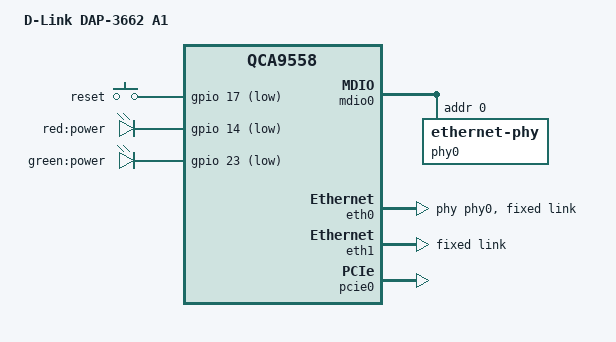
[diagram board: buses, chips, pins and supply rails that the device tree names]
// SPDX-License-Identifier: GPL-2.0-or-later OR MIT

#include "qca955x_dlink_dap-2xxx.dtsi"

/ {
	compatible = "dlink,dap-3662-a1", "qca,qca9558";
	model = "D-Link DAP-3662 A1";

	aliases {
		led-boot = &led_power_green;
		led-failsafe = &led_power_red;
		led-running = &led_power_green;
		led-upgrade = &led_power_red;
	};

	keys {
		compatible = "gpio-keys";

		reset {
			label = "reset";
			linux,code = <KEY_RESTART>;
			gpios = <&gpio 17 GPIO_ACTIVE_LOW>;
		};
	};

	leds {
		compatible = "gpio-leds";

		led_power_red: power_red {
			label = "red:power";
			gpios = <&gpio 14 GPIO_ACTIVE_LOW>;
		};

		led_power_green: power_green {
			label = "green:power";
			gpios = <&gpio 23 GPIO_ACTIVE_LOW>;
			default-state = "on";
		};
	};
};

&partitions {
	partition@70000 {
		label = "firmware";
		reg = <0x70000 0xef0000>;
		compatible = "wrg";
	};

	partition@f60000 {
		label = "dlink";
		reg = <0xf60000 0x90000>;
		read-only;
	};

	art: partition@ff0000 {
		label = "art";
		reg = <0xff0000 0x10000>;
		read-only;
	};
};

&mdio0 {
	status = "okay";

	phy0: ethernet-phy@0 {
		reg = <0>;

		qca,ar8327-initvals = <
			0x04 0x07600000 /* PORT0_PAD_CTRL */
			0x0c 0x00080080 /* PORT6_PAD_CTRL */
			0x7c 0x0000007e /* PORT0_STATUS */
			0x94 0x0000007e /* PORT6_STATUS */
		>;
	};
};

&eth0 {
	status = "okay";

	phy-handle = <&phy0>;
	pll-data = <0x56000000 0x00000101 0x00001616>;

	fixed-link {
		speed = <1000>;
		full-duplex;
	};
};

&eth1 {
	status = "okay";

	pll-data = <0x03000101 0x00000101 0x00001616>;

	fixed-link {
		speed = <1000>;
		full-duplex;
	};
};

&pcie0 {
	status = "okay";
};
